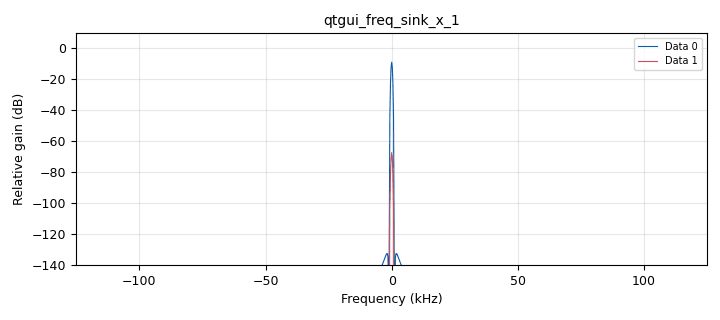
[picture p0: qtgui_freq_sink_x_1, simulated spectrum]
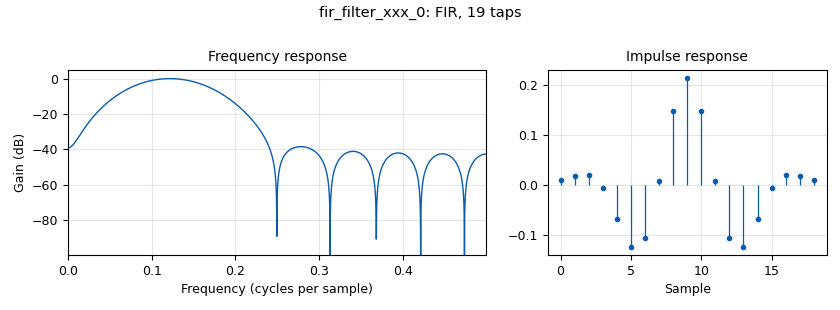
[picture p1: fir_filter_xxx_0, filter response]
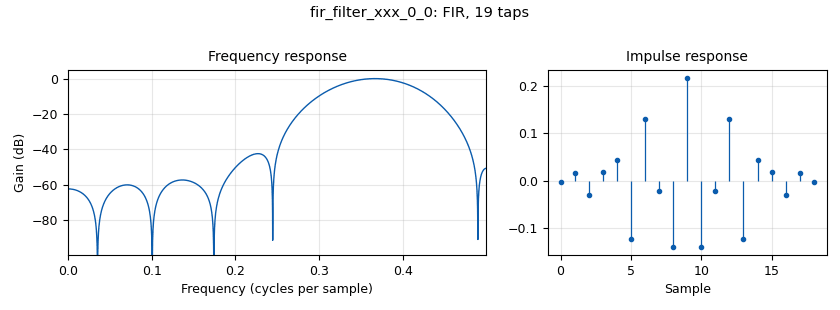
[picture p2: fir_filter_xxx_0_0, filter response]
<?xml version='1.0' encoding='utf-8'?>
<?grc format='1' created='3.7.8'?>
<flow_graph>
<block>
<key>options</key>
<param><key>id</key><value>top_block</value></param>
<param><key>category</key><value>Custom</value></param>
<param><key>generate_options</key><value>qt_gui</value></param>
</block>
<block>
<key>variable</key>
<param><key>id</key><value>down_sampling</value></param>
<param><key>value</key><value>16</value></param>
</block>
<block>
<key>variable</key>
<param><key>id</key><value>f0_bp_taps</value></param>
<param><key>value</key><value>[0.009907027706503868, 0.01748894527554512, 0.0200509000569582, -0.00631917268037796, -0.06848347187042236, -0.12408018857240677, -0.10601181536912918, 0.006915525533258915, 0.14913780987262726, 0.21388313174247742, 0.14913780987262726, 0.006915525533258915, -0.10601181536912918, -0.12408018857240677, -0.06848347187042236, -0.00631917268037796, 0.0200509000569582, 0.01748894527554512, 0.009907027706503868]</value></param>
</block>
<block>
<key>variable</key>
<param><key>id</key><value>f1_bp_taps</value></param>
<param><key>value</key><value>[-0.0034913108684122562, 0.016121335327625275, -0.030533839017152786, 0.01881207898259163, 0.043789319694042206, -0.12244637310504913, 0.13050289452075958, -0.020888589322566986, -0.1393565535545349, 0.21573688089847565, -0.1393565535545349, -0.020888589322566986, 0.13050289452075958, -0.12244637310504913, 0.043789319694042206, 0.01881207898259163, -0.030533839017152786, 0.016121335327625275, -0.0034913108684122562]</value></param>
</block>
<block>
<key>variable_qtgui_range</key>
<param><key>id</key><value>freq_slider</value></param>
<param><key>value</key><value>500e3</value></param>
<param><key>orient</key><value>Qt.Horizontal</value></param>
<param><key>start</key><value>100e3</value></param>
<param><key>step</key><value>100</value></param>
<param><key>stop</key><value>2e6</value></param>
</block>
<block>
<key>variable</key>
<param><key>id</key><value>sample_rate</value></param>
<param><key>value</key><value>250e3*down_sampling</value></param>
</block>
<block>
<key>analog_sig_source_x</key>
<param><key>id</key><value>analog_sig_source_x_0</value></param>
<param><key>amp</key><value>1</value></param>
<param><key>freq</key><value>freq_slider</value></param>
<param><key>offset</key><value>0</value></param>
<param><key>type</key><value>complex</value></param>
<param><key>samp_rate</key><value>sample_rate</value></param>
<param><key>waveform</key><value>analog.GR_COS_WAVE</value></param>
</block>
<block>
<key>blocks_complex_to_mag_squared</key>
<param><key>id</key><value>blocks_complex_to_mag_squared_0</value></param>
</block>
<block>
<key>blocks_complex_to_mag_squared</key>
<param><key>id</key><value>blocks_complex_to_mag_squared_0_0</value></param>
</block>
<block>
<key>fir_filter_xxx</key>
<param><key>id</key><value>fir_filter_xxx_0</value></param>
<param><key>decim</key><value>down_sampling</value></param>
<param><key>taps</key><value>f0_bp_taps</value></param>
<param><key>type</key><value>ccc</value></param>
</block>
<block>
<key>fir_filter_xxx</key>
<param><key>id</key><value>fir_filter_xxx_0_0</value></param>
<param><key>decim</key><value>down_sampling</value></param>
<param><key>taps</key><value>f1_bp_taps</value></param>
<param><key>type</key><value>ccc</value></param>
</block>
<block>
<key>qtgui_freq_sink_x</key>
<param><key>id</key><value>qtgui_freq_sink_x_1</value></param>
<param><key>bw</key><value>sample_rate/down_sampling</value></param>
<param><key>fc</key><value>0</value></param>
<param><key>fftsize</key><value>1024</value></param>
<param><key>label2</key><value></value></param>
<param><key>nconnections</key><value>2</value></param>
<param><key>showports</key><value>True</value></param>
<param><key>type</key><value>complex</value></param>
<param><key>wintype</key><value>firdes.WIN_BLACKMAN_hARRIS</value></param>
</block>
<block>
<key>qtgui_number_sink</key>
<param><key>id</key><value>qtgui_number_sink_0</value></param>
<param><key>graph_type</key><value>qtgui.NUM_GRAPH_HORIZ</value></param>
<param><key>type</key><value>byte</value></param>
</block>
<block>
<key>rad1o_id_compare_select_fb</key>
<param><key>id</key><value>rad1o_id_compare_select_fb_0</value></param>
</block>
<connection><source_block_id>analog_sig_source_x_0</source_block_id><sink_block_id>fir_filter_xxx_0</sink_block_id><source_key>0</source_key><sink_key>0</sink_key></connection>
<connection><source_block_id>analog_sig_source_x_0</source_block_id><sink_block_id>fir_filter_xxx_0_0</sink_block_id><source_key>0</source_key><sink_key>0</sink_key></connection>
<connection><source_block_id>blocks_complex_to_mag_squared_0</source_block_id><sink_block_id>rad1o_id_compare_select_fb_0</sink_block_id><source_key>0</source_key><sink_key>0</sink_key></connection>
<connection><source_block_id>blocks_complex_to_mag_squared_0_0</source_block_id><sink_block_id>rad1o_id_compare_select_fb_0</sink_block_id><source_key>0</source_key><sink_key>1</sink_key></connection>
<connection><source_block_id>fir_filter_xxx_0</source_block_id><sink_block_id>blocks_complex_to_mag_squared_0</sink_block_id><source_key>0</source_key><sink_key>0</sink_key></connection>
<connection><source_block_id>fir_filter_xxx_0</source_block_id><sink_block_id>qtgui_freq_sink_x_1</sink_block_id><source_key>0</source_key><sink_key>0</sink_key></connection>
<connection><source_block_id>fir_filter_xxx_0_0</source_block_id><sink_block_id>blocks_complex_to_mag_squared_0_0</sink_block_id><source_key>0</source_key><sink_key>0</sink_key></connection>
<connection><source_block_id>fir_filter_xxx_0_0</source_block_id><sink_block_id>qtgui_freq_sink_x_1</sink_block_id><source_key>0</source_key><sink_key>1</sink_key></connection>
<connection><source_block_id>rad1o_id_compare_select_fb_0</source_block_id><sink_block_id>qtgui_number_sink_0</sink_block_id><source_key>0</source_key><sink_key>0</sink_key></connection>
</flow_graph>
